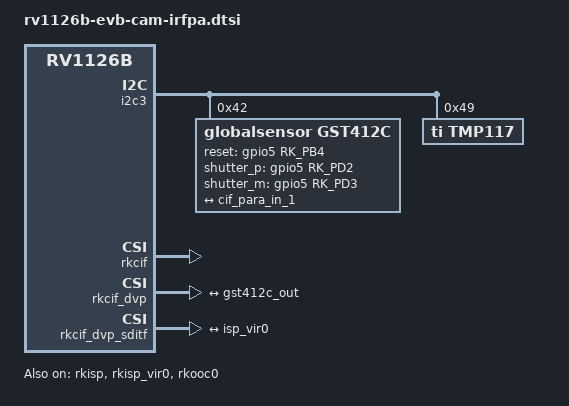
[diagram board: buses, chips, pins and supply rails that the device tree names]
// SPDX-License-Identifier: (GPL-2.0+ OR MIT)
/*
 * Copyright (c) 2025 Rockchip Electronics Co., Ltd.
 *
 */

&i2c3 {
	status = "okay";
	pinctrl-0 = <&i2c3m1_pins>;

	gst412c: gst412c@42 {
		compatible = "globalsensor,gst412c";
		status = "okay";
		reg = <0x42>;
		reset-gpios = <&gpio5 RK_PB4 GPIO_ACTIVE_HIGH>;
		shutter_p-gpios = <&gpio5 RK_PD2 GPIO_ACTIVE_HIGH>;
		shutter_m-gpios = <&gpio5 RK_PD3 GPIO_ACTIVE_HIGH>;

		rkooc = <&rkooc0>;

		port {
			gst412c_out: endpoint {
				remote-endpoint = <&cif_para_in_1>;
			};
		};
	};

	tmp117: tmp117@49 {
		 compatible = "ti,tmp117";
		 reg = <0x49>;
	};
};

&rkcif {
	status = "okay";
};

&rkcif_dvp {
	status = "okay";

	pinctrl-names = "default";
	pinctrl-0 = <&vi_cifm0_pins>;
	port {
		#address-cells = <1>;
		#size-cells = <0>;

		/* Parallel bus endpoint */
		cif_para_in_1: endpoint@1 {
			reg = <1>;
			remote-endpoint = <&gst412c_out>;
		};
	};
};

&rkcif_dvp_sditf {
	status = "okay";

	port {
		dvp_sditf: endpoint {
			remote-endpoint = <&isp_vir0>;
		};
	};
};

&rkcif_mmu {
	status = "okay";
};

&rkisp {
	status = "okay";
};

&rkisp_mmu {
	status = "okay";
};

&rkisp_vir0 {
	status = "okay";

	port {
		#address-cells = <1>;
		#size-cells = <0>;

		isp_vir0: endpoint@0 {
			reg = <0>;
			remote-endpoint = <&dvp_sditf>;
		};
	};
};

&rkooc0 {
	status = "okay";
};
